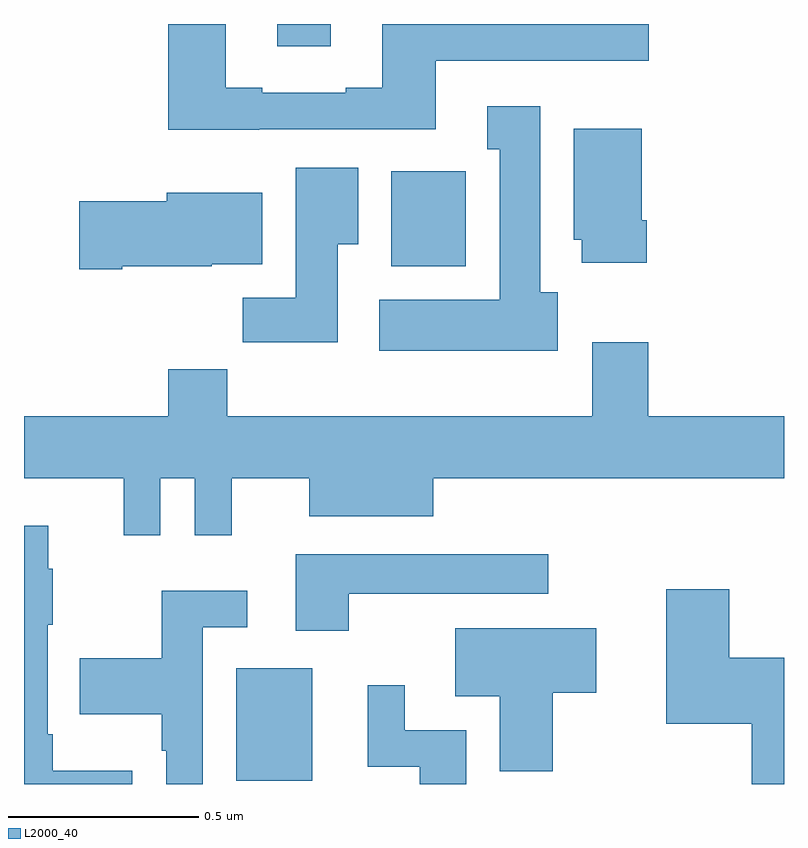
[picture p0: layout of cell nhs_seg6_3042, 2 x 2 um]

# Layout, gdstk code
import gdstk
lib = gdstk.Library(unit=1e-6, precision=1e-09)
def R(c, l, rs):  # rectangles x0, y0, x1, y1
    for r in rs: c.add(gdstk.rectangle(r[:2], r[2:], *l))
def P(c, l, *ps):  # polygons
    for p in ps: c.add(gdstk.Polygon(p, *l))
L2000_40 = (2000, 40)

nhs_seg6_3042 = lib.new_cell('nhs_seg6_3042')
R(nhs_seg6_3042, L2000_40, [(151.559,978.509,151.759,978.805), (151.967,979.862,152.163,980.113), (151.667,980.442,151.807,980.5)])
P(nhs_seg6_3042, L2000_40, [(151.619,980.223),(152.083,980.223),(152.083,980.403),(152.644,980.403),(152.644,980.5),(151.943,980.5),(151.943,980.332),(151.847,980.332),(151.847,980.319),(151.627,980.319),(151.627,980.332),(151.531,980.332),(151.531,980.5),(151.379,980.5),(151.379,980.222),(151.619,980.222)],
  [(152.404,979.794),(152.359,979.794),(152.359,980.284),(152.219,980.284),(152.219,980.171),(152.252,980.171),(152.252,979.774),(151.935,979.774),(151.935,979.64),(152.404,979.64)],
  [(152.639,979.984),(152.626,979.984),(152.626,980.224),(152.447,980.224),(152.447,979.932),(152.468,979.932),(152.468,979.872),(152.639,979.872)],
  [(151.825,979.921),(151.879,979.921),(151.879,980.122),(151.715,980.122),(151.715,979.78),(151.576,979.78),(151.576,979.662),(151.825,979.662)],
  [(151.258,979.862),(151.494,979.862),(151.494,979.868),(151.627,979.868),(151.627,980.056),(151.376,980.056),(151.376,980.033),(151.146,980.033),(151.146,979.855),(151.258,979.855)],
  [(151.359,979.304),(151.449,979.304),(151.449,979.155),(151.547,979.155),(151.547,979.304),(151.751,979.304),(151.751,979.205),(152.077,979.205),(152.077,979.304),(153,979.304),(153,979.468),(152.643,979.468),(152.643,979.663),(152.495,979.663),(152.495,979.468),(151.535,979.468),(151.535,979.592),(151.379,979.592),(151.379,979.468),(151,979.468),(151,979.304),(151.262,979.304),(151.262,979.155),(151.359,979.155)],
  [(151.285,978.535),(151.075,978.535),(151.075,978.631),(151.062,978.631),(151.062,978.919),(151.075,978.919),(151.075,979.067),(151.064,979.067),(151.064,979.18),(151,979.18),(151,978.5),(151.285,978.5)],
  [(151.855,979.001),(152.38,979.001),(152.38,979.105),(151.715,979.105),(151.715,978.903),(151.855,978.903)],
  [(153,978.832),(152.856,978.832),(152.856,979.012),(152.69,979.012),(152.69,978.659),(152.915,978.659),(152.915,978.5),(153,978.5)],
  [(151.47,978.912),(151.588,978.912),(151.588,979.009),(151.362,979.009),(151.362,978.831),(151.147,978.831),(151.147,978.683),(151.362,978.683),(151.362,978.587),(151.374,978.587),(151.374,978.5),(151.47,978.5)],
  [(152.392,978.74),(152.506,978.74),(152.506,978.91),(152.135,978.91),(152.135,978.731),(152.252,978.731),(152.252,978.534),(152.392,978.534)],
  [(152.164,978.642),(152.002,978.642),(152.002,978.76),(151.904,978.76),(151.904,978.546),(152.042,978.546),(152.042,978.5),(152.164,978.5)])

lib.write_gds('nhs_seg6_3042.gds')
